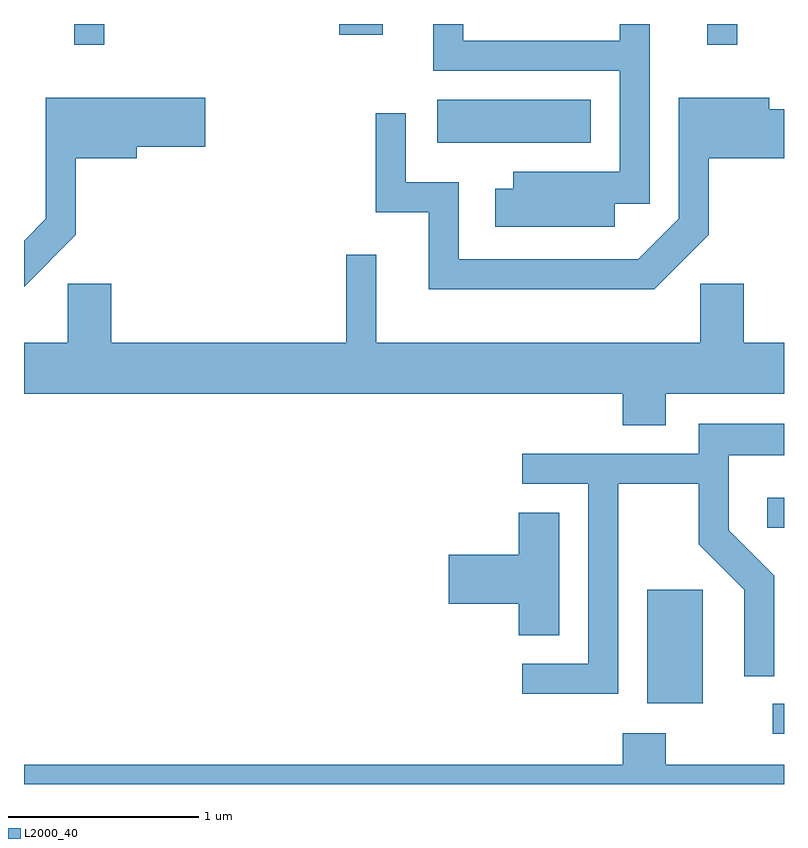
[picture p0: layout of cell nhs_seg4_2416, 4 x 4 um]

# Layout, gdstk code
import gdstk
lib = gdstk.Library(unit=1e-6, precision=1e-09)
def R(c, l, rs):  # rectangles x0, y0, x1, y1
    for r in rs: c.add(gdstk.rectangle(r[:2], r[2:], *l))
def P(c, l, *ps):  # polygons
    for p in ps: c.add(gdstk.Polygon(p, *l))
L2000_40 = (2000, 40)

nhs_seg4_2416 = lib.new_cell('nhs_seg4_2416')
R(nhs_seg4_2416, L2000_40, [(259.553,1326.246,259.611,1326.404), (258.891,1326.406,259.184,1327.004), (259.522,1327.331,259.611,1327.489), (257.786,1329.356,258.594,1329.584), (255.876,1329.873,256.034,1329.982), (259.206,1329.873,259.364,1329.982), (257.271,1329.926,257.499,1329.982)])
P(nhs_seg4_2416, L2000_40, [(258.719,1329.036),(258.904,1329.036),(258.904,1329.982),(258.746,1329.982),(258.746,1329.894),(257.924,1329.894),(257.924,1329.982),(257.766,1329.982),(257.766,1329.736),(258.746,1329.736),(258.746,1329.204),(258.186,1329.204),(258.186,1329.114),(258.091,1329.114),(258.091,1328.916),(258.719,1328.916)],
  [(259.214,1328.874),(259.214,1329.276),(259.611,1329.276),(259.611,1329.534),(259.534,1329.534),(259.534,1329.594),(259.056,1329.594),(259.056,1328.957),(258.844,1328.744),(257.899,1328.744),(257.899,1329.149),(257.619,1329.149),(257.619,1329.513),(257.461,1329.513),(257.461,1328.991),(257.741,1328.991),(257.741,1328.586),(258.927,1328.586)],
  [(255.884,1328.874),(255.884,1329.276),(256.204,1329.276),(256.204,1329.336),(256.564,1329.336),(256.564,1329.594),(255.726,1329.594),(255.726,1328.957),(255.611,1328.841),(255.611,1328.6)],
  [(258.989,1328.036),(259.611,1328.036),(259.611,1328.304),(259.399,1328.304),(259.399,1328.614),(259.171,1328.614),(259.171,1328.304),(257.464,1328.304),(257.464,1328.768),(257.306,1328.768),(257.306,1328.304),(256.069,1328.304),(256.069,1328.614),(255.841,1328.614),(255.841,1328.304),(255.611,1328.304),(255.611,1328.036),(258.761,1328.036),(258.761,1327.871),(258.989,1327.871)],
  [(258.739,1327.561),(259.161,1327.561),(259.161,1327.244),(259.401,1327.004),(259.401,1326.548),(259.559,1326.548),(259.559,1327.077),(259.319,1327.317),(259.319,1327.711),(259.611,1327.711),(259.611,1327.879),(259.161,1327.879),(259.161,1327.719),(258.233,1327.719),(258.233,1327.561),(258.581,1327.561),(258.581,1326.614),(258.233,1326.614),(258.233,1326.456),(258.739,1326.456)],
  [(258.429,1327.409),(258.216,1327.409),(258.216,1327.189),(257.846,1327.189),(257.846,1326.931),(258.216,1326.931),(258.216,1326.766),(258.429,1326.766)],
  [(259.611,1326.084),(258.989,1326.084),(258.989,1326.249),(258.761,1326.249),(258.761,1326.084),(255.611,1326.084),(255.611,1325.982),(259.611,1325.982)])

lib.write_gds('nhs_seg4_2416.gds')
